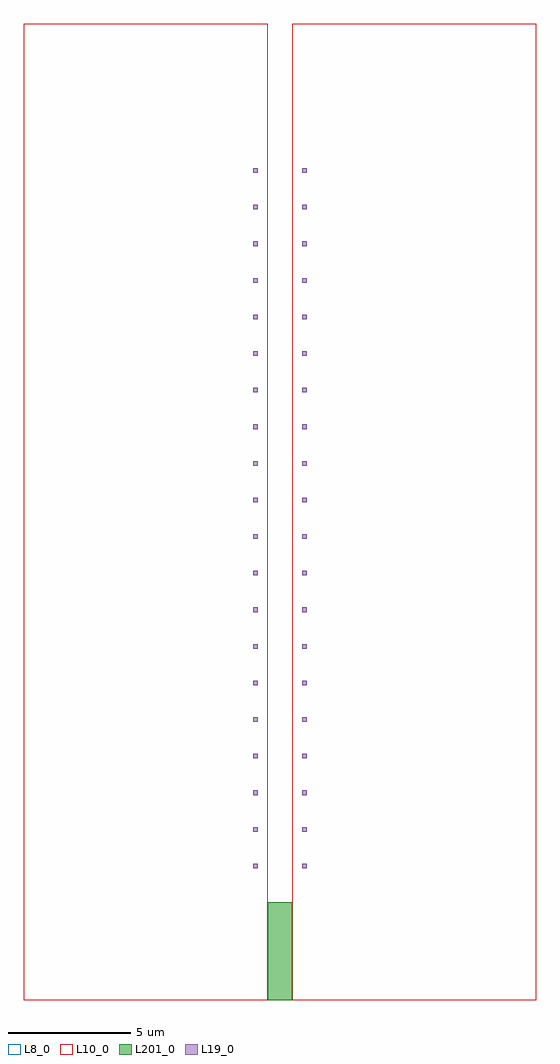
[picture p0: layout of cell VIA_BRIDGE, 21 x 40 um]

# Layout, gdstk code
import gdstk
lib = gdstk.Library(unit=1e-6, precision=1e-09)
def R(c, l, rs):  # rectangles x0, y0, x1, y1
    for r in rs: c.add(gdstk.rectangle(r[:2], r[2:], *l))
def A(c, l, x, y, w, h, nx, ny, dx, dy):  # array of equal rectangles
    R(c, l, [(x+i*dx, y+j*dy, x+i*dx+w, y+j*dy+h) for i in range(nx) for j in range(ny)])
L8_0 = (8, 0)
L10_0 = (10, 0)
L19_0 = (19, 0)
L201_0 = (201, 0)

via_bridge = lib.new_cell('VIA_BRIDGE')
R(via_bridge, L8_0, [(0,0,10,40), (11,0,21,40)])
R(via_bridge, L10_0, [(0,0,10,40), (11,0,21,40)])
A(via_bridge, L19_0, 9.4, 5.4, 0.19, 0.19, 1, 20, 0, 1.5)
A(via_bridge, L19_0, 11.41, 5.4, 0.19, 0.19, 1, 20, 0, 1.5)
R(via_bridge, L201_0, [(10,0,11,4)])

lib.write_gds('VIA_BRIDGE.gds')
